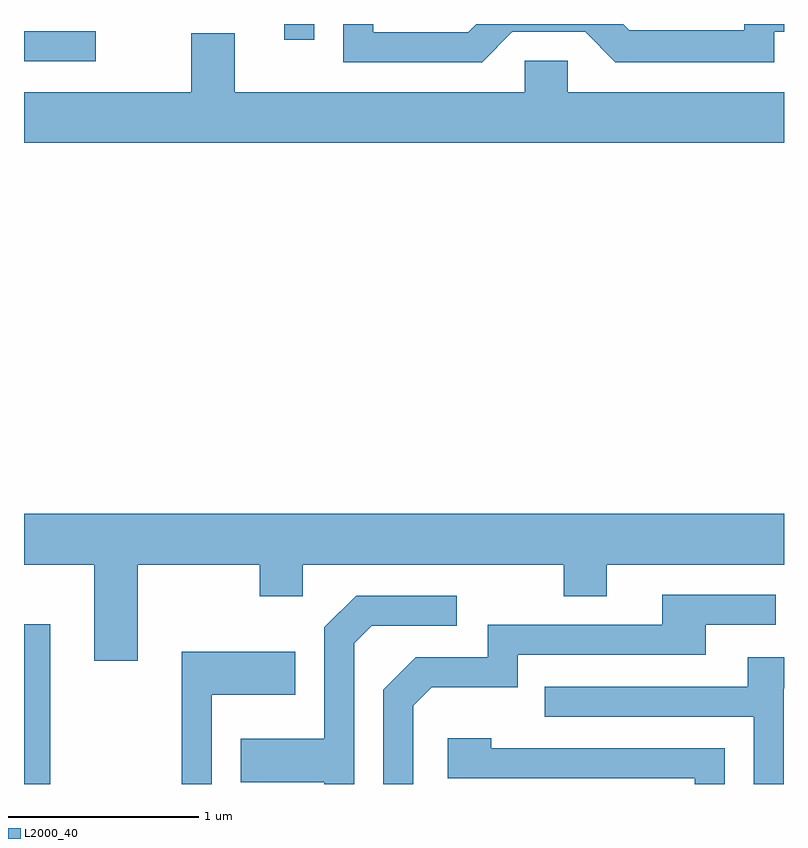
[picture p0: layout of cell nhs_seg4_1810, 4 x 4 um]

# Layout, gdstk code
import gdstk
lib = gdstk.Library(unit=1e-6, precision=1e-09)
def R(c, l, rs):  # rectangles x0, y0, x1, y1
    for r in rs: c.add(gdstk.rectangle(r[:2], r[2:], *l))
def P(c, l, *ps):  # polygons
    for p in ps: c.add(gdstk.Polygon(p, *l))
L2000_40 = (2000, 40)

nhs_seg4_1810 = lib.new_cell('nhs_seg4_1810')
R(nhs_seg4_1810, L2000_40, [(237.611,1337.982,237.749,1338.824), (237.611,1341.786,237.988,1341.944), (238.981,1341.898,239.139,1341.982)])
P(nhs_seg4_1810, L2000_40, [(240.182,1341.941),(240.564,1341.941),(240.724,1341.781),(241.559,1341.781),(241.559,1341.941),(241.611,1341.941),(241.611,1341.982),(241.401,1341.982),(241.401,1341.949),(240.797,1341.949),(240.764,1341.982),(239.992,1341.982),(239.949,1341.939),(239.449,1341.939),(239.449,1341.982),(239.291,1341.982),(239.291,1341.781),(240.022,1341.781)],
  [(241.611,1341.624),(240.474,1341.624),(240.474,1341.789),(240.246,1341.789),(240.246,1341.624),(238.719,1341.624),(238.719,1341.934),(238.491,1341.934),(238.491,1341.624),(237.611,1341.624),(237.611,1341.356),(241.611,1341.356)],
  [(238.209,1339.136),(238.851,1339.136),(238.851,1338.971),(239.079,1338.971),(239.079,1339.136),(240.451,1339.136),(240.451,1338.971),(240.679,1338.971),(240.679,1339.136),(241.611,1339.136),(241.611,1339.404),(237.611,1339.404),(237.611,1339.136),(237.981,1339.136),(237.981,1338.631),(238.209,1338.631)],
  [(239.659,1338.394),(239.757,1338.491),(240.209,1338.491),(240.209,1338.661),(241.199,1338.661),(241.199,1338.821),(241.568,1338.821),(241.568,1338.979),(240.971,1338.979),(240.971,1338.819),(240.051,1338.819),(240.051,1338.649),(239.674,1338.649),(239.501,1338.477),(239.501,1337.982),(239.659,1337.982)],
  [(239.349,1338.724),(239.442,1338.816),(239.888,1338.816),(239.888,1338.974),(239.359,1338.974),(239.191,1338.807),(239.191,1338.219),(238.751,1338.219),(238.751,1337.991),(239.191,1337.991),(239.191,1337.982),(239.349,1337.982)],
  [(238.599,1338.451),(239.039,1338.451),(239.039,1338.679),(238.441,1338.679),(238.441,1337.982),(238.599,1337.982)],
  [(241.609,1338.486),(241.611,1338.486),(241.611,1338.649),(241.421,1338.649),(241.421,1338.494),(240.353,1338.494),(240.353,1338.336),(241.451,1338.336),(241.451,1337.982),(241.609,1337.982)],
  [(241.299,1338.169),(240.069,1338.169),(240.069,1338.224),(239.841,1338.224),(239.841,1338.011),(241.141,1338.011),(241.141,1337.982),(241.299,1337.982)])

lib.write_gds('nhs_seg4_1810.gds')
